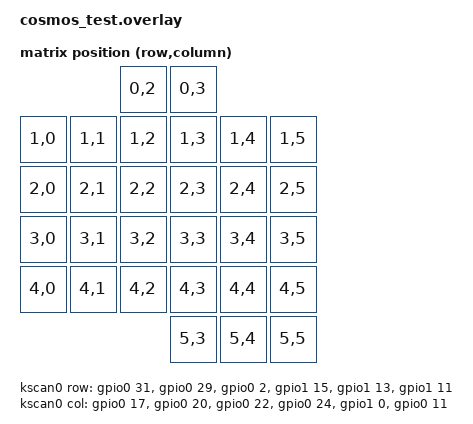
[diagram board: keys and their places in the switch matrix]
#include <dt-bindings/zmk/matrix_transform.h>

/ {
    chosen {
        zmk,kscan = &kscan0;
        zmk,matrix-transform = &default_transform;
    };

    default_transform: keymap_transform_0 {
        compatible = "zmk,matrix-transform";
        columns = <6>;
        rows = <6>;
        map = <
        // Row 0 (2 keys)
                        RC(0,2) RC(0,3)
        // Row 1 (6 keys)
        RC(1,0) RC(1,1) RC(1,2) RC(1,3) RC(1,4) RC(1,5)
        // Row 2 (6 keys)
        RC(2,0) RC(2,1) RC(2,2) RC(2,3) RC(2,4) RC(2,5)
        // Row 3 (6 keys)
        RC(3,0) RC(3,1) RC(3,2) RC(3,3) RC(3,4) RC(3,5)
        // Row 4 (6 keys)
        RC(4,0) RC(4,1) RC(4,2) RC(4,3) RC(4,4) RC(4,5)
        // Row 5 (3 thumb keys)
                                RC(5,3) RC(5,4) RC(5,5)
        >;
    };

    kscan0: kscan_0 {
        compatible = "zmk,kscan-gpio-matrix";
        wakeup-source;
        diode-direction = "col2row";

        row-gpios
            = <&gpio0 31 (GPIO_ACTIVE_HIGH | GPIO_PULL_DOWN)>
            , <&gpio0 29 (GPIO_ACTIVE_HIGH | GPIO_PULL_DOWN)>
            , <&gpio0 2 (GPIO_ACTIVE_HIGH | GPIO_PULL_DOWN)>
            , <&gpio1 15 (GPIO_ACTIVE_HIGH | GPIO_PULL_DOWN)>
            , <&gpio1 13 (GPIO_ACTIVE_HIGH | GPIO_PULL_DOWN)>
            , <&gpio1 11 (GPIO_ACTIVE_HIGH | GPIO_PULL_DOWN)>
            ;

        col-gpios
            = <&gpio0 17 GPIO_ACTIVE_HIGH>
            , <&gpio0 20 GPIO_ACTIVE_HIGH>
            , <&gpio0 22 GPIO_ACTIVE_HIGH>
            , <&gpio0 24 GPIO_ACTIVE_HIGH>
            , <&gpio1 0 GPIO_ACTIVE_HIGH>
            , <&gpio0 11 GPIO_ACTIVE_HIGH>
            ;
    };
};
